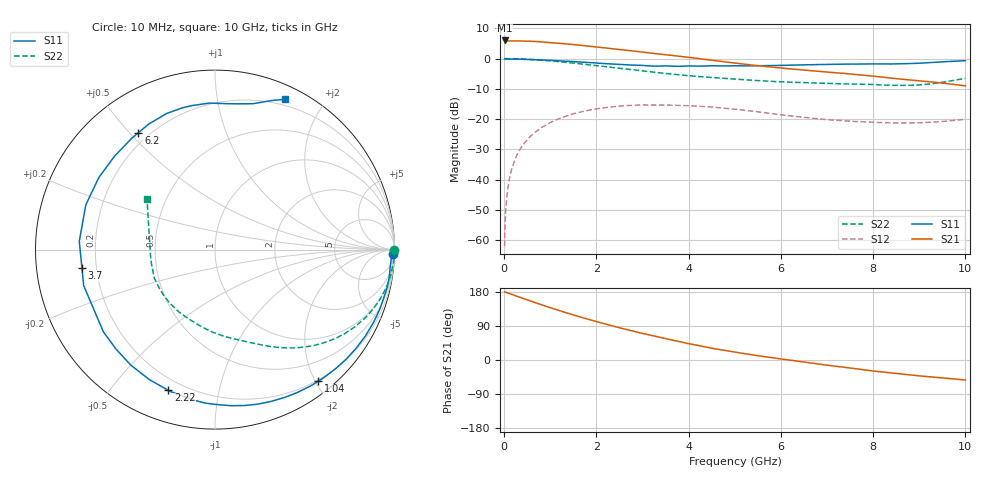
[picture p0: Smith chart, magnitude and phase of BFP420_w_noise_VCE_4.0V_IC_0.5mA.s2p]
! Infineon Technologies  Discrete & RF Semiconductors
! BFP420
! VCE =  4.0 V,  IC =  0.5 mA
! Common Emitter S-Parameters:  Jan 2016
# GHz  S  MA  R  50
!  f  S11  S21  S12  S22
! GHz  MAG  ANG  MAG  ANG  MAG  ANG  MAG  ANG
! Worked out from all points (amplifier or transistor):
!   233 points, 10 MHz to 10 GHz, reference 50 ohm
!   highest |S21| = 6.0 dB at 10 MHz (marker M1)
!   |S21| within 3 dB of that: start of sweep to 2.518 GHz
!   unconditionally stable (mu >= 1): 4.449 GHz to end of sweep
!   at 200 MHz: K = 0.02, MSG = 20.3 dB, |S12| = -34.8 dB
!   at 1.74 GHz: K = 0.26, MSG = 10.8 dB, |S12| = -17.3 dB
!   at 10 GHz: K = 1.56, MAG = 1.1 dB, |S12| = -20.1 dB
!   lowest NFmin = 0.68 dB at 900 MHz
!   S11 on the Smith chart (normalised r, x): 10 MHz: 21, -70; 1.04 GHz: 0.18, -2.04; 2.22 GHz: 0.14, -0.71; 3.7 GHz: 0.14, -0.07; 6.2 GHz: 0.16, +0.53; 10 GHz: 0.14, +1.56
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0.01  0.9922 -1.5  1.994 179.4  0.0008 80.6  0.9992 -0.1
0.02  0.9836 -1.0  1.933 179.5  0.0019 85.3  0.9981 -0.4
0.03  0.9836 -1.5  1.938 179.0  0.0028 85.7  0.9981 -0.7
0.065  0.9828 -3.3  1.949 177.4  0.0059 86.1  0.9981 -1.6
0.135  0.9815 -6.8  1.959 174.4  0.0124 85.3  0.9972 -3.4
0.22  0.9826 -10.8  1.958 170.7  0.0202 83.1  0.9944 -5.6
0.34  0.9775 -16.9  1.957 165.6  0.0313 79.6  0.9882 -8.7
0.52  0.97 -25.9  1.939 157.9  0.0475 74.0  0.9742 -13.2
0.78  0.9531 -38.9  1.896 146.9  0.07 65.8  0.9467 -19.5
1.04  0.9319 -51.9  1.832 136.6  0.0908 57.9  0.9127 -25.4
1.4  0.9016 -69.8  1.734 122.5  0.1163 47.1  0.8595 -33.1
1.68  0.8756 -83.2  1.655 112.4  0.1328 39.1  0.8157 -38.5
2.22  0.826 -108.4  1.496 94.1  0.1563 24.7  0.7334 -47.8
2.82  0.7801 -135.8  1.327 75.3  0.1699 9.7  0.6481 -57.2
3.4  0.7531 -160.5  1.182 59.1  0.1713 -3.0  0.5787 -65.6
3.7  0.7484 -172.2  1.113 51.2  0.1694 -8.6  0.5486 -70.1
4.5  0.7618 160.8  0.945 31.0  0.1588 -22.4  0.4879 -83.4
5.1  0.7599 145.9  0.827 18.9  0.1437 -30.2  0.4537 -93.7
6.2  0.7787 123.2  0.677 -0.4  0.1135 -37.5  0.4079 -113.7
6.8  0.7971 112.9  0.618 -10.3  0.1015 -37.5  0.3938 -125.8
8.4  0.8159 85.1  0.476 -34.4  0.0868 -29.6  0.3629 -166.9
10  0.9235 65.0  0.355 -52.8  0.0994 -18.5  0.4728 143.3
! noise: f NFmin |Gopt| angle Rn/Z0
0.9  0.68  0.78  35  0.65
1.8  1.42  0.6  75  0.5
2.4  1.57  0.58  98  0.37
3  2.1  0.58  128  0.24
4  2.49  0.57  177  0.09
